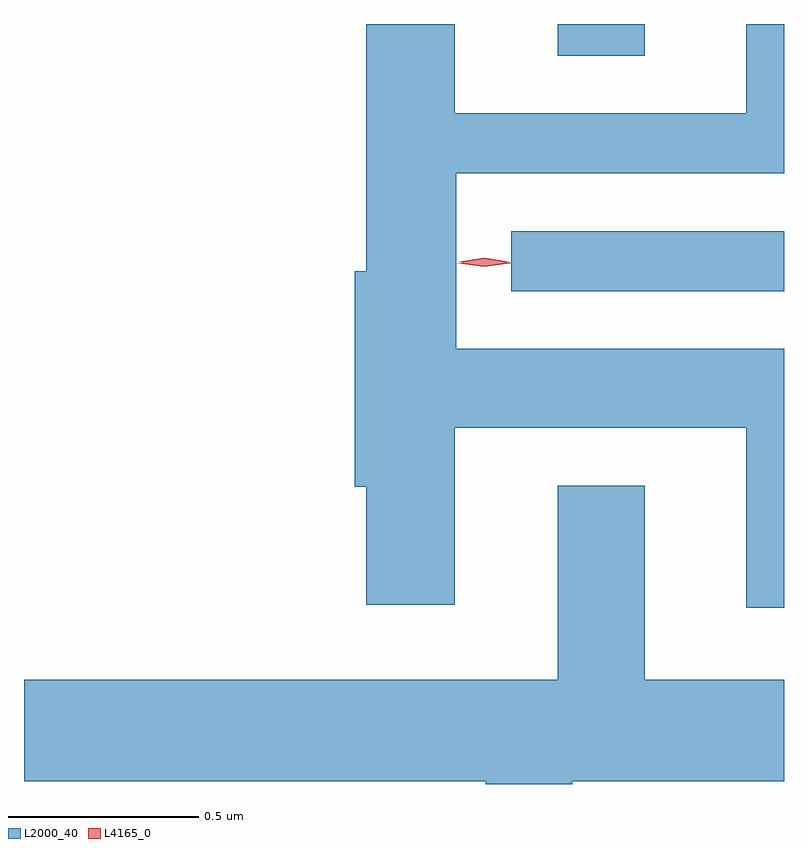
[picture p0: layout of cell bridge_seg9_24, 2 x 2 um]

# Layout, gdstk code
import gdstk
lib = gdstk.Library(unit=1e-6, precision=1e-09)
def R(c, l, rs):  # rectangles x0, y0, x1, y1
    for r in rs: c.add(gdstk.rectangle(r[:2], r[2:], *l))
def P(c, l, *ps):  # polygons
    for p in ps: c.add(gdstk.Polygon(p, *l))
L2000_40 = (2000, 40)
L4165_0 = (4165, 0)

bridge_seg9_24 = lib.new_cell('bridge_seg9_24')
R(bridge_seg9_24, L2000_40, [(1538.798,2079.686,1539.516,2079.844), (1538.921,2080.306,1539.149,2080.389)])
P(bridge_seg9_24, L2000_40, [(1539.516,2079.534),(1538.654,2079.534),(1538.654,2079.996),(1539.516,2079.996),(1539.516,2080.389),(1539.416,2080.389),(1539.416,2080.154),(1538.649,2080.154),(1538.649,2080.389),(1538.416,2080.389),(1538.416,2079.739),(1538.386,2079.739),(1538.386,2079.171),(1538.416,2079.171),(1538.416,2078.861),(1538.649,2078.861),(1538.649,2079.326),(1539.416,2079.326),(1539.416,2078.853),(1539.516,2078.853)],
  [(1538.959,2078.396),(1539.516,2078.396),(1539.516,2078.664),(1539.149,2078.664),(1539.149,2079.174),(1538.921,2079.174),(1538.921,2078.664),(1537.516,2078.664),(1537.516,2078.396),(1538.731,2078.396),(1538.731,2078.389),(1538.959,2078.389)])
P(bridge_seg9_24, L4165_0, [(1538.727,2079.754),(1538.662,2079.763),(1538.661,2079.764),(1538.662,2079.764),(1538.727,2079.774),(1538.792,2079.764),(1538.793,2079.764),(1538.792,2079.763)],
  [(1538.727,2079.75),(1538.658,2079.759),(1538.657,2079.76),(1538.658,2079.76),(1538.727,2079.77),(1538.796,2079.761),(1538.796,2079.76),(1538.796,2079.76)])

lib.write_gds('bridge_seg9_24.gds')
